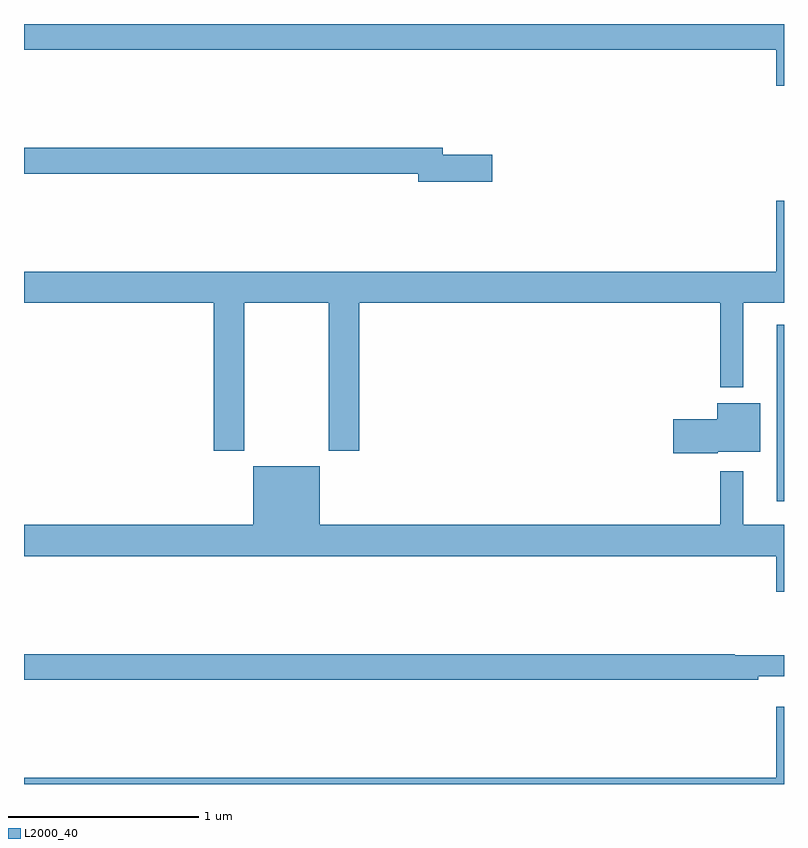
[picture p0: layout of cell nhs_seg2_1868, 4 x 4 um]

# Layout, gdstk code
import gdstk
lib = gdstk.Library(unit=1e-6, precision=1e-09)
def R(c, l, rs):  # rectangles x0, y0, x1, y1
    for r in rs: c.add(gdstk.rectangle(r[:2], r[2:], *l))
def P(c, l, *ps):  # polygons
    for p in ps: c.add(gdstk.Polygon(p, *l))
L2000_40 = (2000, 40)

nhs_seg2_1868 = lib.new_cell('nhs_seg2_1868')
R(nhs_seg2_1868, L2000_40, [(212.963,617.289,213,618.217)])
P(nhs_seg2_1868, L2000_40, [(213,619.8),(209,619.8),(209,619.664),(212.96,619.664),(212.96,619.476),(213,619.476)],
  [(211.465,619.112),(211.204,619.112),(211.204,619.148),(209,619.148),(209,619.012),(211.076,619.012),(211.076,618.97),(211.465,618.97)],
  [(210.159,618.332),(210.604,618.332),(210.604,617.553),(210.764,617.553),(210.764,618.332),(212.664,618.332),(212.664,617.888),(212.785,617.888),(212.785,618.332),(213,618.332),(213,618.871),(212.96,618.871),(212.96,618.496),(209,618.496),(209,618.332),(209.999,618.332),(209.999,617.553),(210.159,617.553)],
  [(212.652,617.549),(212.875,617.549),(212.875,617.803),(212.648,617.803),(212.648,617.72),(212.418,617.72),(212.418,617.542),(212.652,617.542)],
  [(213,617.164),(212.785,617.164),(212.785,617.446),(212.664,617.446),(212.664,617.164),(210.556,617.164),(210.556,617.473),(210.206,617.473),(210.206,617.164),(209,617.164),(209,617),(212.96,617),(212.96,616.812),(213,616.812)],
  [(212.864,616.367),(213,616.367),(213,616.477),(212.74,616.477),(212.74,616.484),(209,616.484),(209,616.348),(212.864,616.348)],
  [(213,616.207),(212.96,616.207),(212.96,615.832),(209,615.832),(209,615.8),(213,615.8)])

lib.write_gds('nhs_seg2_1868.gds')
